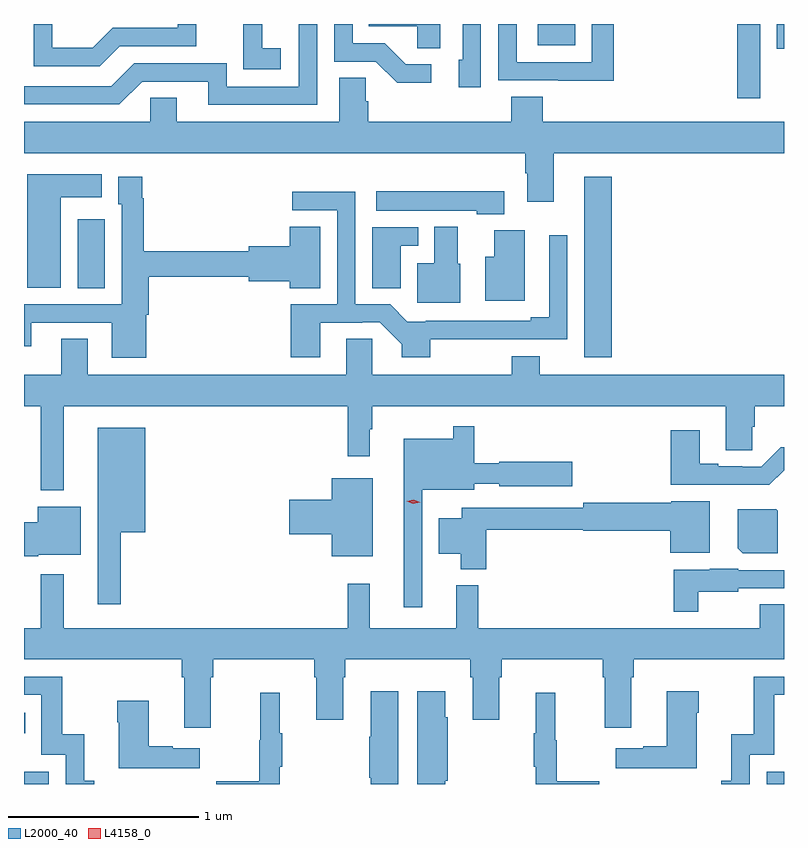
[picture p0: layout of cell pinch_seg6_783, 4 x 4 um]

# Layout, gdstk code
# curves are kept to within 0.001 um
import gdstk
lib = gdstk.Library(unit=1e-6, precision=1e-09)
def R(c, l, rs):  # rectangles x0, y0, x1, y1
    for r in rs: c.add(gdstk.rectangle(r[:2], r[2:], *l))
def P(c, l, *ps):  # polygons
    for p in ps: c.add(gdstk.Polygon(p, *l))
L2000_40 = (2000, 40)
L4158_0 = (4158, 0)

pinch_seg6_783 = lib.new_cell('pinch_seg6_783')
R(pinch_seg6_783, L2000_40, [(180.386,967.991,180.516,968.055), (184.296,967.991,184.386,968.055), (180.386,968.259,180.392,968.365), (183.335,970.236,183.479,971.188), (180.668,970.6,180.811,970.963), (184.14,971.601,184.261,971.991), (184.349,971.861,184.386,971.991), (183.089,971.879,183.286,971.991)])
P(pinch_seg6_783, L2000_40, [(180.889,971.874),(181.293,971.874),(181.293,971.991),(181.194,971.991),(181.194,971.97),(180.852,971.97),(180.748,971.866),(180.534,971.866),(180.534,971.991),(180.438,971.991),(180.438,971.769),(180.784,971.769)],
  [(182.578,971.991),(182.2,971.991),(182.2,971.978),(182.457,971.978),(182.457,971.863),(182.578,971.863)],
  [(181.738,971.863),(181.64,971.863),(181.64,971.991),(181.541,971.991),(181.541,971.959),(181.54,971.959),(181.54,971.753),(181.738,971.753)],
  [(182.79,971.991),(182.694,971.991),(182.694,971.802),(182.675,971.802),(182.675,971.658),(182.79,971.658)],
  [(181.929,971.991),(181.833,971.991),(181.833,971.661),(181.452,971.661),(181.452,971.784),(180.966,971.784),(180.846,971.664),(180.386,971.664),(180.386,971.568),(180.888,971.568),(181.008,971.688),(181.355,971.688),(181.355,971.565),(181.929,971.565)],
  [(182.53,971.778),(182.395,971.778),(182.284,971.889),(182.115,971.889),(182.115,971.991),(182.019,971.991),(182.019,971.793),(182.238,971.793),(182.351,971.681),(182.53,971.681)],
  [(183.491,971.991),(183.375,971.991),(183.375,971.79),(182.979,971.79),(182.979,971.991),(182.883,971.991),(182.883,971.694),(183.199,971.694),(183.199,971.693),(183.491,971.693)],
  [(183.175,971.312),(184.386,971.312),(184.386,971.476),(183.116,971.476),(183.116,971.609),(182.951,971.609),(182.951,971.476),(182.198,971.476),(182.198,971.585),(182.184,971.585),(182.184,971.708),(182.045,971.708),(182.045,971.476),(181.189,971.476),(181.189,971.603),(181.05,971.603),(181.05,971.476),(180.386,971.476),(180.386,971.312),(183.023,971.312),(183.023,971.206),(183.035,971.206),(183.035,971.055),(183.175,971.055)],
  [(180.58,971.078),(180.796,971.078),(180.796,971.2),(180.404,971.2),(180.404,970.604),(180.58,970.604)],
  [(181.03,970.461),(181.043,970.461),(181.043,970.66),(181.568,970.66),(181.568,970.637),(181.784,970.637),(181.784,970.6),(181.945,970.6),(181.945,970.925),(181.784,970.925),(181.784,970.82),(181.568,970.82),(181.568,970.796),(181.016,970.796),(181.016,971.075),(181.009,971.075),(181.009,971.188),(180.881,971.188),(180.881,971.043),(180.9,971.043),(180.9,970.515),(180.386,970.515),(180.386,970.296),(180.424,970.296),(180.424,970.419),(180.848,970.419),(180.848,970.235),(181.03,970.235)],
  [(182.914,971.11),(182.241,971.11),(182.241,971.009),(182.769,971.009),(182.769,970.991),(182.914,970.991)],
  [(181.945,970.419),(182.165,970.419),(182.165,970.422),(182.259,970.422),(182.375,970.306),(182.375,970.238),(182.523,970.238),(182.523,970.331),(183.246,970.332),(183.246,970.879),(183.15,970.879),(183.15,970.448),(183.053,970.448),(183.053,970.428),(182.5,970.428),(182.5,970.425),(182.404,970.425),(182.314,970.515),(182.13,970.515),(182.13,971.108),(181.797,971.108),(181.797,971.01),(182.034,971.01),(182.034,970.515),(181.79,970.515),(181.79,970.236),(181.945,970.236)],
  [(182.683,970.728),(182.668,970.728),(182.668,970.924),(182.546,970.924),(182.546,970.732),(182.456,970.732),(182.456,970.523),(182.683,970.523)],
  [(182.368,970.824),(182.461,970.824),(182.461,970.92),(182.219,970.92),(182.219,970.6),(182.368,970.6)],
  [(183.022,970.906),(182.861,970.906),(182.861,970.765),(182.813,970.765),(182.813,970.535),(183.022,970.535)],
  [(183.1,970.243),(182.953,970.243),(182.953,970.144),(182.22,970.144),(182.22,970.334),(182.081,970.334),(182.081,970.144),(180.721,970.144),(180.721,970.334),(180.581,970.334),(180.581,970.144),(180.386,970.144),(180.386,969.98),(180.474,969.98),(180.474,969.536),(180.595,969.536),(180.595,969.98),(182.089,969.98),(182.089,969.717),(182.206,969.717),(182.206,969.857),(182.218,969.857),(182.218,969.98),(184.079,969.98),(184.079,969.748),(184.218,969.748),(184.218,969.87),(184.232,969.87),(184.232,969.98),(184.386,969.98),(184.386,970.144),(183.1,970.144)],
  [(182.481,969.539),(182.755,969.539),(182.755,969.57),(182.886,969.57),(182.886,969.557),(183.271,969.557),(183.271,969.687),(182.886,969.687),(182.886,969.679),(182.755,969.679),(182.755,969.874),(182.646,969.874),(182.646,969.808),(182.384,969.808),(182.384,968.922),(182.481,968.922)],
  [(180.895,969.317),(181.024,969.317),(181.024,969.865),(180.773,969.865),(180.773,968.937),(180.895,968.937)],
  [(184.386,969.642),(184.386,969.763),(184.369,969.763),(184.266,969.66),(184.166,969.66),(184.166,969.663),(184.039,969.663),(184.039,969.676),(183.943,969.676),(183.943,969.853),(183.791,969.853),(183.791,969.566),(184.309,969.566)],
  [(182.221,969.601),(182.006,969.601),(182.006,969.488),(181.782,969.488),(181.782,969.305),(182.006,969.305),(182.006,969.191),(182.221,969.191)],
  [(182.819,969.328),(183.33,969.328),(183.33,969.323),(183.788,969.323),(183.788,969.209),(183.994,969.209),(183.994,969.478),(183.792,969.478),(183.792,969.47),(183.33,969.47),(183.33,969.444),(182.69,969.444),(182.69,969.391),(182.57,969.391),(182.57,969.203),(182.684,969.203),(182.684,969.122),(182.819,969.122)],
  [(180.462,969.197),(180.685,969.197),(180.685,969.451),(180.458,969.451),(180.458,969.368),(180.386,969.368),(180.386,969.19),(180.462,969.19)],
  [(184.354,969.428),(184.346,969.436),(184.142,969.436),(184.142,969.232),(184.168,969.206),(184.354,969.206)],
  [(183.934,969.002),(184.146,969.002),(184.146,969.021),(184.386,969.021),(184.386,969.117),(184.146,969.117),(184.146,969.124),(183.996,969.124),(183.996,969.118),(183.805,969.118),(183.805,968.897),(183.934,968.897)],
  [(180.474,969.094),(180.474,968.812),(180.386,968.812),(180.386,968.648),(181.217,968.648),(181.217,968.552),(181.229,968.552),(181.229,968.286),(181.369,968.286),(181.369,968.552),(181.382,968.552),(181.382,968.648),(181.913,968.648),(181.913,968.552),(181.925,968.552),(181.925,968.328),(182.065,968.328),(182.065,968.552),(182.078,968.552),(182.078,968.648),(182.735,968.648),(182.735,968.552),(182.747,968.552),(182.747,968.328),(182.887,968.328),(182.887,968.552),(182.9,968.552),(182.9,968.648),(183.431,968.648),(183.431,968.552),(183.443,968.552),(183.443,968.286),(183.583,968.286),(183.583,968.552),(183.596,968.552),(183.596,968.648),(184.386,968.648),(184.386,968.936),(184.258,968.936),(184.258,968.812),(182.777,968.812),(182.777,969.037),(182.66,969.037),(182.66,968.812),(182.207,968.812),(182.207,969.046),(182.089,969.046),(182.089,968.812),(180.595,968.812),(180.595,969.094)],
  [(184.206,968.145),(184.335,968.145),(184.335,968.46),(184.386,968.46),(184.386,968.556),(184.227,968.556),(184.227,968.254),(184.109,968.254),(184.109,968.007),(184.056,968.007),(184.056,967.991),(184.206,967.991)],
  [(180.757,968.007),(180.704,968.007),(180.704,968.254),(180.586,968.254),(180.586,968.556),(180.386,968.556),(180.386,968.46),(180.477,968.46),(180.477,968.145),(180.606,968.145),(180.606,967.991),(180.757,967.991)],
  [(182.356,968.479),(182.21,968.479),(182.21,968.24),(182.203,968.24),(182.203,968.023),(182.21,968.023),(182.21,967.991),(182.356,967.991)],
  [(183.928,968.366),(183.936,968.366),(183.936,968.479),(183.77,968.479),(183.77,968.189),(183.644,968.189),(183.644,968.179),(183.501,968.179),(183.501,968.075),(183.928,968.075)],
  [(182.602,968.007),(182.617,968.007),(182.617,968.343),(182.602,968.343),(182.602,968.479),(182.456,968.479),(182.456,967.991),(182.602,967.991)],
  [(183.413,968.006),(183.19,968.006),(183.19,968.22),(183.182,968.22),(183.182,968.47),(183.08,968.47),(183.08,968.257),(183.069,968.257),(183.069,968.083),(183.08,968.083),(183.08,967.991),(183.413,967.991)],
  [(181.733,968.083),(181.744,968.083),(181.744,968.257),(181.733,968.257),(181.733,968.47),(181.63,968.47),(181.63,968.22),(181.623,968.22),(181.623,968.006),(181.399,968.006),(181.399,967.991),(181.733,967.991)],
  [(181.312,968.179),(181.169,968.179),(181.169,968.189),(181.042,968.189),(181.042,968.428),(180.877,968.428),(180.877,968.315),(180.884,968.315),(180.884,968.075),(181.312,968.075)])
P(pinch_seg6_783, L4158_0, [(182.434,969.467),(182.4,969.478),(182.399,969.478),(182.4,969.479),(182.436,969.487),(182.47,969.475),(182.471,969.475),(182.47,969.475)])

lib.write_gds('pinch_seg6_783.gds')
